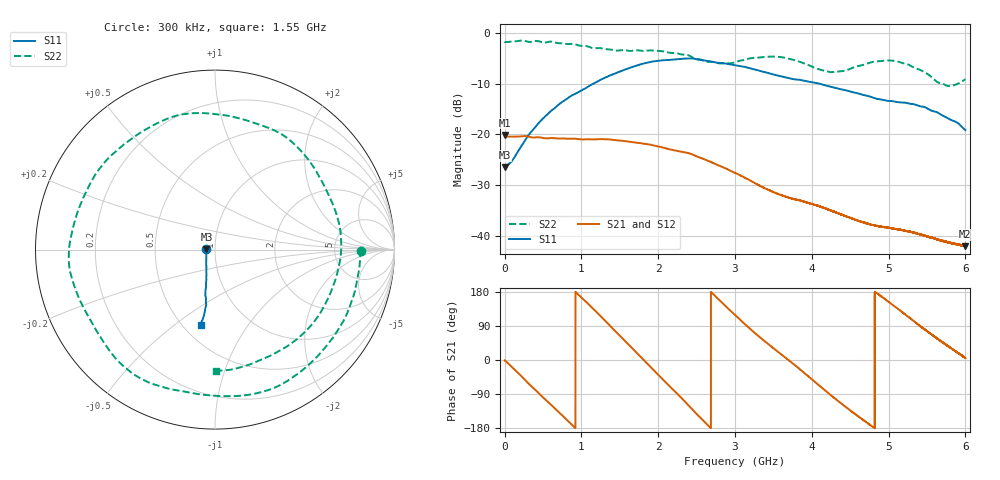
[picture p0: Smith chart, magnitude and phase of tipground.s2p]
!  8/6/2020  02:05:32
! Ref Plane: 0.000 mm
# MHZ S MA R  50
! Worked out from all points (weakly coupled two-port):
!   10001 points, 300 kHz to 6 GHz, reference 50 ohm
!   highest |S21| = -20.09 dB at 300 kHz (marker M1); lowest = -42.0 dB at 5.994 GHz (marker M2)
!   lowest |S11| = -26.5 dB at 300 kHz (marker M3), VSWR 1.10, Z = 45.5 + j0.0567 ohm
!   |S11| at or under -10 dB: start of sweep to 1.159 GHz; 4.089636 GHz to 4.089909 GHz (272.4 kHz wide, 0.00666 % of centre); 4.09 GHz to end of sweep
!   |S22| runs from -10.5 to -1.5 dB; largest |S21 - S12| = 0.0026
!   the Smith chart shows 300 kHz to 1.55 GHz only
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0.3  0.04752 179.2  0.09893 -1.1  0.09636 -0.9  0.8144 -0.4
285.2858  0.09186 -122.5  0.09601 -56.7  0.09625 -56.8  0.8214 -84.0
593.0704  0.1672 -106.9  0.09186 -115.7  0.09208 -115.6  0.8172 -171.8
824.0588  0.227 -103.3  0.09057 -160.6  0.09078 -160.7  0.7726 123.3
1000.45  0.2699 -100.9  0.08909 164.9  0.08918 164.9  0.7402 74.1
1255.437  0.3457 -99.3  0.08976 114.7  0.08986 114.7  0.7026 -1.1
1533.823  0.4243 -100.8  0.08644 57.3  0.08662 57.3  0.6746 -84.9
1775.611  0.4892 -103.5  0.08178 7.5  0.08195 7.5  0.6638 -152.4
2000.6  0.527 -108.3  0.07602 -39.2  0.07623 -39.2  0.6613 149.2
2255.587  0.5476 -112.0  0.06862 -90.6  0.06883 -90.7  0.6237 84.8
2538.173  0.5404 -118.5  0.05925 -150.0  0.05928 -150.2  0.548 7.6
2783.561  0.505 -120.3  0.04956 160.7  0.04967 160.7  0.5004 -68.5
3000.15  0.4788 -120.8  0.04186 119.1  0.04184 119.0  0.5115 -137.0
3225.739  0.4416 -122.0  0.03426 76.9  0.03421 76.9  0.5643 160.7
3502.325  0.3877 -120.1  0.02707 30.9  0.02693 30.7  0.5819 92.7
4000.3  0.3266 -112.5  0.02074 -50.7  0.02067 -50.7  0.4643 -33.5
4215.089  0.298 -110.1  0.0183 -87.4  0.0183 -87.5  0.4136 -101.5
4480.876  0.2666 -105.5  0.01528 -130.0  0.01534 -129.9  0.435 172.5
5000.45  0.2132 -93.4  0.01213 153.7  0.0121 153.5  0.5327 42.9
5494.825  0.1816 -86.4  0.009959 77.1  0.009998 77.1  0.3977 -75.1
5994  0.1109 -80.0  0.007958 6.4  0.008047 6.2  0.346 113.8
6000  0.1102 -80.1  0.007996 5.3  0.008023 5.2  0.3483 112.0
